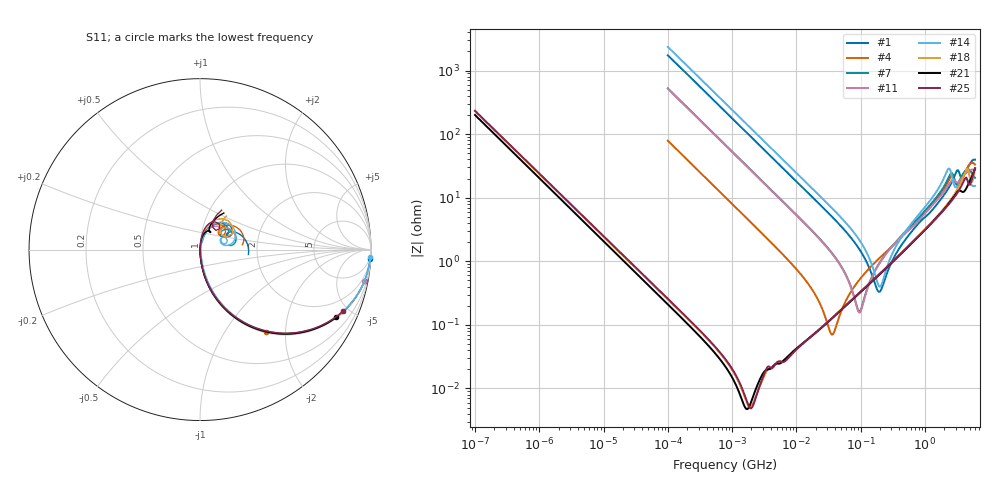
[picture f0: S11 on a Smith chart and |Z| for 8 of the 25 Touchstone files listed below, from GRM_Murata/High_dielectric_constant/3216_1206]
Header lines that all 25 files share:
!These Parameters are Measured in Series Mode Connection
!Data Generated on Mar 30, 2021
!  o--ll--o
!Port1  Port2
!  o------o
!Operation Temp=25[degC], DC Bias Voltage=0[V]
# Hz S RI R 50
!Freq.(Hz) S11(Real) S11(Imag) S21(Real) S21(Imag) S12(Real) S12(Imag) S22(Real) S22(Imag)
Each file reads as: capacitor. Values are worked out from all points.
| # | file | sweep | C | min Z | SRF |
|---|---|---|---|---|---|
| 1 | GRM31AR72J102KW01.s2p | 100 kHz to 6 GHz | 912 pF | 330 mohm | 194.4 MHz |
| 2 | GRM31AR72J103KW01.s2p | 100 kHz to 6 GHz | 9.09 nF | 77.1 mohm | 57.33 MHz |
| 3 | GRM31AR72J332KW01.s2p | 100 kHz to 6 GHz | 3.1 nF | 178 mohm | 101.4 MHz |
| 4 | GRM31BR72E223KW01.s2p | 100 kHz to 6 GHz | 20.2 nF | 70 mohm | 36.12 MHz |
| 5 | GRM31BR72J102KW01.s2p | 100 kHz to 6 GHz | 946 pF | 273 mohm | 191 MHz |
| 6 | GRM31BR72J222KW01.s2p | 100 kHz to 6 GHz | 2.06 nF | 181 mohm | 121.5 MHz |
| 7 | GRM31BR72J332KW01.s2p | 100 kHz to 6 GHz | 3.03 nF | 163 mohm | 95.46 MHz |
| 8 | GRM31BR72J682KW01.s2p | 100 kHz to 6 GHz | 6.35 nF | 104 mohm | 64.85 MHz |
| 9 | GRM31BR73A152KW01.s2p | 100 kHz to 6 GHz | 1.38 nF | 281 mohm | 148.2 MHz |
| 10 | GRM31BR73A222KW01.s2p | 100 kHz to 6 GHz | 2.02 nF | 203 mohm | 121.4 MHz |
| 11 | GRM31BR73A332KW01.s2p | 100 kHz to 6 GHz | 3.08 nF | 156 mohm | 95.82 MHz |
| 12 | GRM31BR73A471KW01.s2p | 100 kHz to 6 GHz | 454 pF | 506 mohm | 244.9 MHz |
| 13 | GRM31BR73A472KW01.s2p | 100 kHz to 6 GHz | 4.5 nF | 121 mohm | 82.22 MHz |
| 14 | GRM31BR73A681KW01.s2p | 100 kHz to 6 GHz | 673 pF | 398 mohm | 198.6 MHz |
| 15 | GRM31CB11A475KA01.s2p | 100 Hz to 6 GHz | 4.73 uF | 4.99 mohm | 2.26 MHz |
| 16 | GRM31CB30J226KE18.s2p | 100 Hz to 6 GHz | 17.4 uF | 3.46 mohm | 1.129 MHz |
| 17 | GRM31CB31E475KA87.s2p | 100 Hz to 6 GHz | 4.53 uF | 5.38 mohm | 2.322 MHz |
| 18 | GRM31CB31H106KA12.s2p | 100 Hz to 6 GHz | 6.88 uF | 5.09 mohm | 1.959 MHz |
| 19 | GRM31CB31H225KA87.s2p | 100 Hz to 6 GHz | 2.05 uF | 6.87 mohm | 3.555 MHz |
| 20 | GRM31CB31H475KA12.s2p | 100 Hz to 6 GHz | 4.55 uF | 5.07 mohm | 2.264 MHz |
| 21 | GRM31CC8YA106KA12.s2p | 100 Hz to 6 GHz | 7.93 uF | 4.73 mohm | 1.744 MHz |
| 22 | GRM31CC72A475KE11.s2p | 100 Hz to 6 GHz | 4.52 uF | 4.96 mohm | 2.334 MHz |
| 23 | GRM31CC80G227ME11.s2p | 100 Hz to 6 GHz | 148 uF | 1.72 mohm | 328.9 kHz |
| 24 | GRM31CC81A476ME44.s2p | 100 Hz to 6 GHz | 30.5 uF | 2.73 mohm | 1.016 MHz |
| 25 | GRM31CC81E106KA12.s2p | 100 Hz to 6 GHz | 6.8 uF | 4.86 mohm | - |
